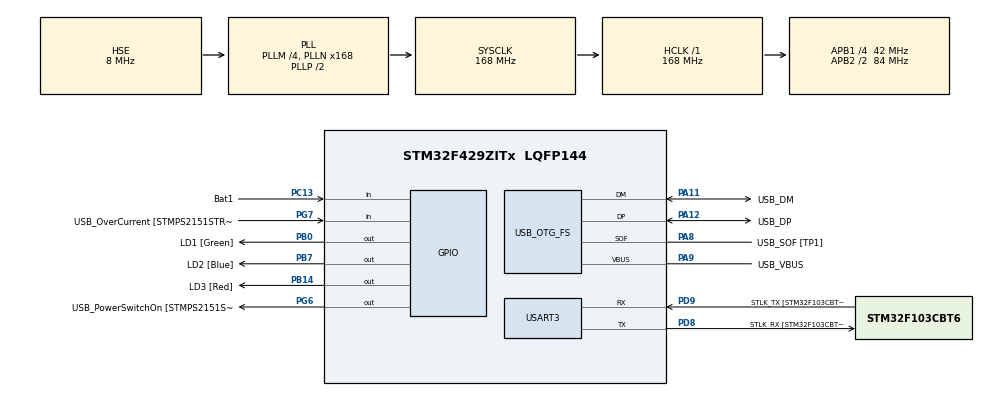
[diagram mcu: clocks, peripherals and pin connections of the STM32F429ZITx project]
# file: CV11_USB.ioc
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Mcu.Family=STM32F4
Mcu.Name=STM32F429ZITx
Mcu.Package=LQFP144
NVIC.OTG_FS_IRQn=true\:0\:0\:false\:false\:true\:false\:true\:true
NVIC.PriorityGroup=NVIC_PRIORITYGROUP_4
PA1.GPIO_Label=RMII_REF_CLK [LAN8742A-CZ-TR_REFCLK0]
PA1.Signal=ETH_REF_CLK
PA10.GPIO_Label=USB_ID
PA10.Signal=USB_OTG_FS_ID
PA11.GPIO_Label=USB_DM
PA11.Mode=Device_Only
PA11.Signal=USB_OTG_FS_DM
PA12.GPIO_Label=USB_DP
PA12.Mode=Device_Only
PA12.Signal=USB_OTG_FS_DP
PA13.GPIO_Label=TMS
PA13.Mode=Serial_Wire
PA13.Signal=SYS_JTMS-SWDIO
PA14.GPIO_Label=TCK
PA14.Mode=Serial_Wire
PA14.Signal=SYS_JTCK-SWCLK
PA2.GPIO_Label=RMII_MDIO [LAN8742A-CZ-TR_MDIO]
PA2.Signal=ETH_MDIO
PA7.GPIO_Label=RMII_CRS_DV [LAN8742A-CZ-TR_CRS_DV]
PA7.Signal=ETH_CRS_DV
PA8.GPIO_Label=USB_SOF [TP1]
PA8.Mode=Activate_SOF_FS
PA8.Signal=USB_OTG_FS_SOF
PA9.GPIO_Label=USB_VBUS
PA9.Mode=Activate_VBUS
PA9.Signal=USB_OTG_FS_VBUS
PB0.GPIO_Label=LD1 [Green]
PB0.Signal=GPIO_Output
PB13.GPIO_Label=RMII_TXD1 [LAN8742A-CZ-TR_TXD1]
PB13.Signal=ETH_TXD1
PB14.GPIO_Label=LD3 [Red]
PB14.Signal=GPIO_Output
PB7.GPIO_Label=LD2 [Blue]
PB7.Signal=GPIO_Output
PC1.GPIO_Label=RMII_MDC [LAN8742A-CZ-TR_MDC]
PC1.Signal=ETH_MDC
PC13.GPIO_Label=Bat1
PC13.GPIO_PuPd=GPIO_PULLDOWN
PC13.Signal=GPIO_Input
PC14/OSC32_IN.Mode=LSE-External-Oscillator
PC14/OSC32_IN.Signal=RCC_OSC32_IN
PC15/OSC32_OUT.Mode=LSE-External-Oscillator
PC15/OSC32_OUT.Signal=RCC_OSC32_OUT
PC4.GPIO_Label=RMII_RXD0 [LAN8742A-CZ-TR_RXD0]
PC4.Signal=ETH_RXD0
PC5.GPIO_Label=RMII_RXD1 [LAN8742A-CZ-TR_RXD1]
PC5.Signal=ETH_RXD1
PD8.GPIO_Label=STLK_RX [STM32F103CBT6_PA3]
PD8.Mode=Asynchronous
PD8.Signal=USART3_TX
PD9.GPIO_Label=STLK_TX [STM32F103CBT6_PA2]
PD9.Mode=Asynchronous
PD9.Signal=USART3_RX
PG11.GPIO_Label=RMII_TX_EN [LAN8742A-CZ-TR_TXEN]
PG11.Signal=ETH_TX_EN
PG13.GPIO_Label=RMII_TXD0 [LAN8742A-CZ-TR_TXD0]
PG13.Signal=ETH_TXD0
PG6.GPIO_Label=USB_PowerSwitchOn [STMPS2151STR_EN]
PG6.Signal=GPIO_Output
PG7.GPIO_Label=USB_OverCurrent [STMPS2151STR_FAULT]
PG7.Signal=GPIO_Input
PH0/OSC_IN.GPIO_Label=MCO [STM32F103CBT6_PA8]
PH0/OSC_IN.Mode=HSE-External-Clock-Source
PH0/OSC_IN.Signal=RCC_OSC_IN
PH1/OSC_OUT.Mode=HSE-External-Clock-Source
PH1/OSC_OUT.Signal=RCC_OSC_OUT
ProjectManager.HeapSize=0x200
ProjectManager.StackSize=0x400
ProjectManager.TargetToolchain=STM32CubeIDE
RCC.48MHZClocksFreq_Value=48000000
RCC.AHBFreq_Value=168000000
RCC.APB1CLKDivider=RCC_HCLK_DIV4
RCC.APB1Freq_Value=42000000
RCC.APB1TimFreq_Value=84000000
RCC.APB2CLKDivider=RCC_HCLK_DIV2
RCC.APB2Freq_Value=84000000
RCC.APB2TimCLKDivider=2
RCC.APB2TimFreq_Value=168000000
RCC.CortexFreq_Value=168000000
RCC.HCLKFreq_Value=168000000
RCC.HSE_VALUE=8000000
RCC.HSI_VALUE=16000000
RCC.PLLM=4
RCC.PLLMUL=RCC_PLL_MUL9
RCC.PLLN=168
RCC.PLLQ=7
RCC.PRESCALERUSB=RCC_USBCLKSOURCE_PLL_DIV1_5
RCC.SYSCLKFreq_VALUE=168000000
RCC.SYSCLKSource=RCC_SYSCLKSOURCE_PLLCLK
RCC.SYSCLKSourceVirtual=RCC_SYSCLKSOURCE_PLLCLK
RCC.USBFreq_Value=48000000
RCC.VCOOutputFreq_Value=336000000
USART3.VirtualMode=VM_ASYNC
USB_DEVICE.CLASS_NAME_FS=HID
USB_DEVICE.VirtualMode-HID_FS=Hid
USB_DEVICE.VirtualModeFS=Hid_FS
USB_OTG_FS.VirtualMode=Device_Only
VP_USB_DEVICE_VS_USB_DEVICE_HID_FS.Mode=HID_FS
board=NUCLEO-F429ZI

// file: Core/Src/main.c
/* USER CODE BEGIN Header */
/**
 ******************************************************************************
 * @file           : main.c
 * @brief          : Main program body
 ******************************************************************************
 * @attention
 *
 * Copyright (c) 2023 STMicroelectronics.
 * All rights reserved.
 *
 * This software is licensed under terms that can be found in the LICENSE file
 * in the root directory of this software component.
 * If no LICENSE file comes with this software, it is provided AS-IS.
 *
 ******************************************************************************
 */
/* USER CODE END Header */
#include "main.h"
#include "usb_device.h"

/* USER CODE BEGIN Includes */
#include <math.h>
#include "usbd_hid.h"

/* USER CODE END Includes */

UART_HandleTypeDef huart3;

void SystemClock_Config(void);
static void MX_GPIO_Init(void);
static void MX_USART3_UART_Init(void);

/* USER CODE BEGIN 0 */

void koule(uint8_t r, float fi)
{
	extern USBD_HandleTypeDef hUsbDeviceFS;
	//uint8_t r = 6;
	float x;
	float y;
	float pi = 3.141592;

	fi = fi * pi / 180;
	x = r * cosf(fi);
	y = r * sinf(fi);

	uint8_t buff[4];
	buff[0] = 0x01;// stiskni leve tlacitko
	buff[1] = (int8_t) (x);// posun X
	buff[2] = (int8_t) (y);// posun Y
	buff[3] = 0;// bez scrollu
	USBD_HID_SendReport(&hUsbDeviceFS, buff, sizeof(buff));
	HAL_Delay(USBD_HID_GetPollingInterval(&hUsbDeviceFS));

	fi = fi * 180 / pi;
}

/* USER CODE END 0 */

int main(void) {

	/* MCU Configuration--------------------------------------------------------*/

	/* Reset of all peripherals, Initializes the Flash interface and the Systick. */
	HAL_Init();

	/* Configure the system clock */
	SystemClock_Config();

	/* Initialize all configured peripherals */
	MX_GPIO_Init();
	MX_USART3_UART_Init();
	MX_USB_DEVICE_Init();
	/* USER CODE BEGIN 2 */

	extern USBD_HandleTypeDef hUsbDeviceFS;
	uint8_t buff[4];

	do {
		for (uint16_t i=0; i<=360; i++){
			koule(5, i);
		}
		buff[0] = 0x00; 				// stiskni leve tlacitko
		buff[1] = (int8_t) (0); 		// posun X
		buff[2] = (int8_t) (0); 		// posun Y
		buff[3] = 0; 					// bez scrollu
		USBD_HID_SendReport(&hUsbDeviceFS, buff, sizeof(buff));
		HAL_Delay(USBD_HID_GetPollingInterval(&hUsbDeviceFS));

		for (uint8_t i=0; i<=10; i++){
			buff[0] = 0x00; 				// stiskni leve tlacitko
			buff[1] = (int8_t) (8); 		// posun X
			buff[2] = (int8_t) (8); 		// posun Y
			buff[3] = 0; 					// bez scrollu
			USBD_HID_SendReport(&hUsbDeviceFS, buff, sizeof(buff));
			HAL_Delay(USBD_HID_GetPollingInterval(&hUsbDeviceFS));
		}
		for (uint16_t i = 0; i <= 360; i++) {
			koule(2, i);
		}
		buff[0] = 0x00; 				// stiskni leve tlacitko
		buff[1] = (int8_t) (0); 		// posun X
		buff[2] = (int8_t) (0); 		// posun Y
		buff[3] = 0; 					// bez scrollu
		USBD_HID_SendReport(&hUsbDeviceFS, buff, sizeof(buff));
		HAL_Delay(USBD_HID_GetPollingInterval(&hUsbDeviceFS));
		for (uint8_t i = 0; i <= 10; i++) {
			buff[0] = 0x00; 				// stiskni leve tlacitko
			buff[1] = (int8_t) (-15); 		// posun X
			buff[2] = (int8_t) (0); 		// posun Y
			buff[3] = 0; 					// bez scrollu
			USBD_HID_SendReport(&hUsbDeviceFS, buff, sizeof(buff));
			HAL_Delay(USBD_HID_GetPollingInterval(&hUsbDeviceFS));
		}
		for (uint16_t i = 0; i <= 360; i++) {
			koule(2, i);
		}

	} while (HAL_GPIO_ReadPin(Bat1_GPIO_Port, Bat1_Pin) == 0);

	/* USER CODE END 2 */

	/* Infinite loop */
	while (1) {

		/* USER CODE BEGIN 3 */
		/*uint8_t r = 6;
		 float x;
		 float y;
		 float fi;
		 float pi = 3.141592;

		 fi++;
		 if (fi == 360) {
		 fi = 0;
		 }
		 fi = fi*pi/180;
		 x = r*cosf(fi);
		 y = r*sinf(fi);

		 uint8_t buff[4];
		 buff[0] = 0x01; 				// stiskni leve tlacitko
		 buff[1] = (int8_t)(x); 		// posun X
		 buff[2] = (int8_t)(y); 		// posun Y
		 buff[3] = 0; 					// bez scrollu
		 USBD_HID_SendReport(&hUsbDeviceFS, buff, sizeof(buff));
		 HAL_Delay(USBD_HID_GetPollingInterval(&hUsbDeviceFS));

		 fi = fi*180/pi;*/

	}
	/* USER CODE END 3 */
}

void SystemClock_Config(void) {
	RCC_OscInitTypeDef RCC_OscInitStruct = { 0 };
	RCC_ClkInitTypeDef RCC_ClkInitStruct = { 0 };

	/** Configure the main internal regulator output voltage
	 */
	__HAL_RCC_PWR_CLK_ENABLE();
	__HAL_PWR_VOLTAGESCALING_CONFIG(PWR_REGULATOR_VOLTAGE_SCALE1);

	/** Initializes the RCC Oscillators according to the specified parameters
	 * in the RCC_OscInitTypeDef structure.
	 */
	RCC_OscInitStruct.OscillatorType = RCC_OSCILLATORTYPE_HSE;
	RCC_OscInitStruct.HSEState = RCC_HSE_BYPASS;
	RCC_OscInitStruct.PLL.PLLState = RCC_PLL_ON;
	RCC_OscInitStruct.PLL.PLLSource = RCC_PLLSOURCE_HSE;
	RCC_OscInitStruct.PLL.PLLM = 4;
	RCC_OscInitStruct.PLL.PLLN = 168;
	RCC_OscInitStruct.PLL.PLLP = RCC_PLLP_DIV2;
	RCC_OscInitStruct.PLL.PLLQ = 7;
	if (HAL_RCC_OscConfig(&RCC_OscInitStruct) != HAL_OK) {
		Error_Handler();
	}

	/** Initializes the CPU, AHB and APB buses clocks
	 */
	RCC_ClkInitStruct.ClockType = RCC_CLOCKTYPE_HCLK | RCC_CLOCKTYPE_SYSCLK
			| RCC_CLOCKTYPE_PCLK1 | RCC_CLOCKTYPE_PCLK2;
	RCC_ClkInitStruct.SYSCLKSource = RCC_SYSCLKSOURCE_PLLCLK;
	RCC_ClkInitStruct.AHBCLKDivider = RCC_SYSCLK_DIV1;
	RCC_ClkInitStruct.APB1CLKDivider = RCC_HCLK_DIV4;
	RCC_ClkInitStruct.APB2CLKDivider = RCC_HCLK_DIV2;

	if (HAL_RCC_ClockConfig(&RCC_ClkInitStruct, FLASH_LATENCY_5) != HAL_OK) {
		Error_Handler();
	}
}

static void MX_USART3_UART_Init(void) {

	huart3.Instance = USART3;
	huart3.Init.BaudRate = 115200;
	huart3.Init.WordLength = UART_WORDLENGTH_8B;
	huart3.Init.StopBits = UART_STOPBITS_1;
	huart3.Init.Parity = UART_PARITY_NONE;
	huart3.Init.Mode = UART_MODE_TX_RX;
	huart3.Init.HwFlowCtl = UART_HWCONTROL_NONE;
	huart3.Init.OverSampling = UART_OVERSAMPLING_16;
	if (HAL_UART_Init(&huart3) != HAL_OK) {
		Error_Handler();
	}

}

static void MX_GPIO_Init(void) {
	GPIO_InitTypeDef GPIO_InitStruct = { 0 };

	/* GPIO Ports Clock Enable */
	__HAL_RCC_GPIOC_CLK_ENABLE();
	__HAL_RCC_GPIOH_CLK_ENABLE();
	__HAL_RCC_GPIOA_CLK_ENABLE();
	__HAL_RCC_GPIOB_CLK_ENABLE();
	__HAL_RCC_GPIOD_CLK_ENABLE();
	__HAL_RCC_GPIOG_CLK_ENABLE();

	/*Configure GPIO pin Output Level */
	HAL_GPIO_WritePin(GPIOB, LD1_Pin | LD3_Pin | LD2_Pin, GPIO_PIN_RESET);

	/*Configure GPIO pin Output Level */
	HAL_GPIO_WritePin(USB_PowerSwitchOn_GPIO_Port, USB_PowerSwitchOn_Pin,
			GPIO_PIN_RESET);

	/*Configure GPIO pin : Bat1_Pin */
	GPIO_InitStruct.Pin = Bat1_Pin;
	GPIO_InitStruct.Mode = GPIO_MODE_INPUT;
	GPIO_InitStruct.Pull = GPIO_PULLDOWN;
	HAL_GPIO_Init(Bat1_GPIO_Port, &GPIO_InitStruct);

	/*Configure GPIO pins : RMII_MDC_Pin RMII_RXD0_Pin RMII_RXD1_Pin */
	GPIO_InitStruct.Pin = RMII_MDC_Pin | RMII_RXD0_Pin | RMII_RXD1_Pin;
	GPIO_InitStruct.Mode = GPIO_MODE_AF_PP;
	GPIO_InitStruct.Pull = GPIO_NOPULL;
	GPIO_InitStruct.Speed = GPIO_SPEED_FREQ_VERY_HIGH;
	GPIO_InitStruct.Alternate = GPIO_AF11_ETH;
	HAL_GPIO_Init(GPIOC, &GPIO_InitStruct);

	/*Configure GPIO pins : RMII_REF_CLK_Pin RMII_MDIO_Pin RMII_CRS_DV_Pin */
	GPIO_InitStruct.Pin = RMII_REF_CLK_Pin | RMII_MDIO_Pin | RMII_CRS_DV_Pin;
	GPIO_InitStruct.Mode = GPIO_MODE_AF_PP;
	GPIO_InitStruct.Pull = GPIO_NOPULL;
	GPIO_InitStruct.Speed = GPIO_SPEED_FREQ_VERY_HIGH;
	GPIO_InitStruct.Alternate = GPIO_AF11_ETH;
	HAL_GPIO_Init(GPIOA, &GPIO_InitStruct);

	/*Configure GPIO pins : LD1_Pin LD3_Pin LD2_Pin */
	GPIO_InitStruct.Pin = LD1_Pin | LD3_Pin | LD2_Pin;
	GPIO_InitStruct.Mode = GPIO_MODE_OUTPUT_PP;
	GPIO_InitStruct.Pull = GPIO_NOPULL;
	GPIO_InitStruct.Speed = GPIO_SPEED_FREQ_LOW;
	HAL_GPIO_Init(GPIOB, &GPIO_InitStruct);

	/*Configure GPIO pin : RMII_TXD1_Pin */
	GPIO_InitStruct.Pin = RMII_TXD1_Pin;
	GPIO_InitStruct.Mode = GPIO_MODE_AF_PP;
	GPIO_InitStruct.Pull = GPIO_NOPULL;
	GPIO_InitStruct.Speed = GPIO_SPEED_FREQ_VERY_HIGH;
	GPIO_InitStruct.Alternate = GPIO_AF11_ETH;
	HAL_GPIO_Init(RMII_TXD1_GPIO_Port, &GPIO_InitStruct);

	/*Configure GPIO pin : USB_PowerSwitchOn_Pin */
	GPIO_InitStruct.Pin = USB_PowerSwitchOn_Pin;
	GPIO_InitStruct.Mode = GPIO_MODE_OUTPUT_PP;
	GPIO_InitStruct.Pull = GPIO_NOPULL;
	GPIO_InitStruct.Speed = GPIO_SPEED_FREQ_LOW;
	HAL_GPIO_Init(USB_PowerSwitchOn_GPIO_Port, &GPIO_InitStruct);

	/*Configure GPIO pin : USB_OverCurrent_Pin */
	GPIO_InitStruct.Pin = USB_OverCurrent_Pin;
	GPIO_InitStruct.Mode = GPIO_MODE_INPUT;
	GPIO_InitStruct.Pull = GPIO_NOPULL;
	HAL_GPIO_Init(USB_OverCurrent_GPIO_Port, &GPIO_InitStruct);

	/*Configure GPIO pins : RMII_TX_EN_Pin RMII_TXD0_Pin */
	GPIO_InitStruct.Pin = RMII_TX_EN_Pin | RMII_TXD0_Pin;
	GPIO_InitStruct.Mode = GPIO_MODE_AF_PP;
	GPIO_InitStruct.Pull = GPIO_NOPULL;
	GPIO_InitStruct.Speed = GPIO_SPEED_FREQ_VERY_HIGH;
	GPIO_InitStruct.Alternate = GPIO_AF11_ETH;
	HAL_GPIO_Init(GPIOG, &GPIO_InitStruct);

}

void Error_Handler(void) {
	__disable_irq();
	while (1) {
	}
}
